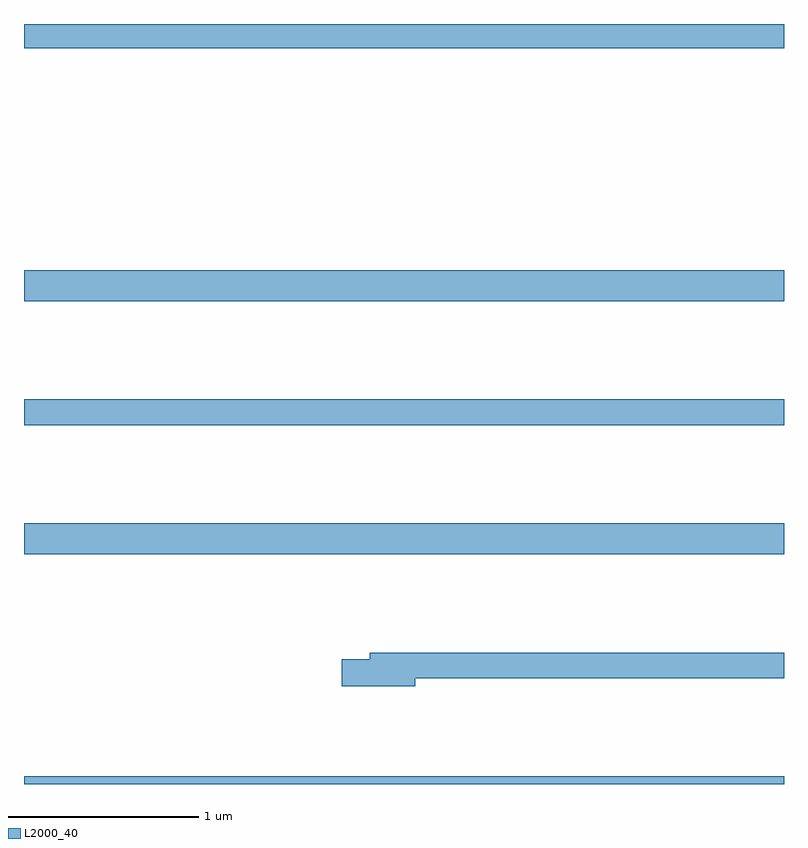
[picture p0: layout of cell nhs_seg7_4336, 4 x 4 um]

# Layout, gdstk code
import gdstk
lib = gdstk.Library(unit=1e-6, precision=1e-09)
def R(c, l, rs):  # rectangles x0, y0, x1, y1
    for r in rs: c.add(gdstk.rectangle(r[:2], r[2:], *l))
def P(c, l, *ps):  # polygons
    for p in ps: c.add(gdstk.Polygon(p, *l))
L2000_40 = (2000, 40)

nhs_seg7_4336 = lib.new_cell('nhs_seg7_4336')
R(nhs_seg7_4336, L2000_40, [(383,1074,387,1074.04), (383,1075.208,387,1075.372), (383,1075.888,387,1076.024), (383,1076.54,387,1076.704), (383,1077.872,387,1078)])
P(nhs_seg7_4336, L2000_40, [(385.06,1074.556),(387,1074.556),(387,1074.692),(384.821,1074.692),(384.821,1074.656),(384.672,1074.656),(384.672,1074.514),(385.06,1074.514)])

lib.write_gds('nhs_seg7_4336.gds')
